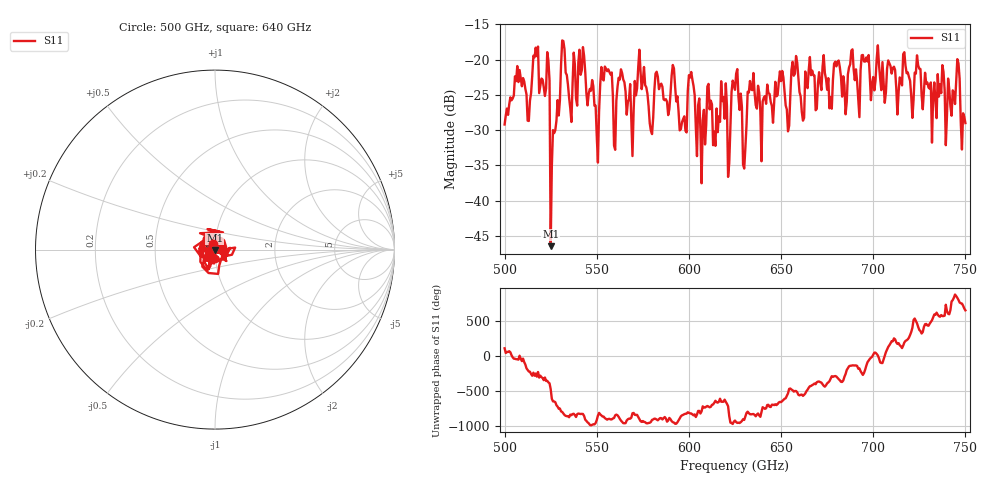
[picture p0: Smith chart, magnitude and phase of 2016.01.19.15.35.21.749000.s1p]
!Created with skrf (http://scikit-rf.org).
# GHz S RI R 50.0
!freq ReS11 ImS11
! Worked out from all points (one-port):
!   401 points, 500 GHz to 750 GHz, reference 50 ohm
!   lowest |S11| = -46.5 dB at 525 GHz (marker M1), VSWR 1.01, Z = 49.8 - j0.435 ohm
!   |S11| at or under -10 dB: start of sweep to end of sweep
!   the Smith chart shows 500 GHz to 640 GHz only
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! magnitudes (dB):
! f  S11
! 500 GHz  -29.2
! 506.9 GHz  -20.9
! 513.1 GHz  -28.7
! 516.9 GHz  -18.3
! 523.1 GHz  -18.9
! 525 GHz  -46.5
! 526.2 GHz  -30.0
! 531.2 GHz  -17.3
! 535.6 GHz  -26.9
! 541.9 GHz  -21.5
! 550 GHz  -30.9
! 553.8 GHz  -23.0
! 560 GHz  -32.8
! 562.5 GHz  -22.8
! 593.8 GHz  -25.2
! 601.2 GHz  -21.8
! 605.6 GHz  -25.5
! 621.9 GHz  -34.7
! 625 GHz  -24.3
! 630 GHz  -35.5
! 633.8 GHz  -24.3
! 653.8 GHz  -30.2
! 656.2 GHz  -20.3
! 661.2 GHz  -27.4
! 687.5 GHz  -20.7
! 718.8 GHz  -21.8
! 745.6 GHz  -19.9
! 750 GHz  -29.0
